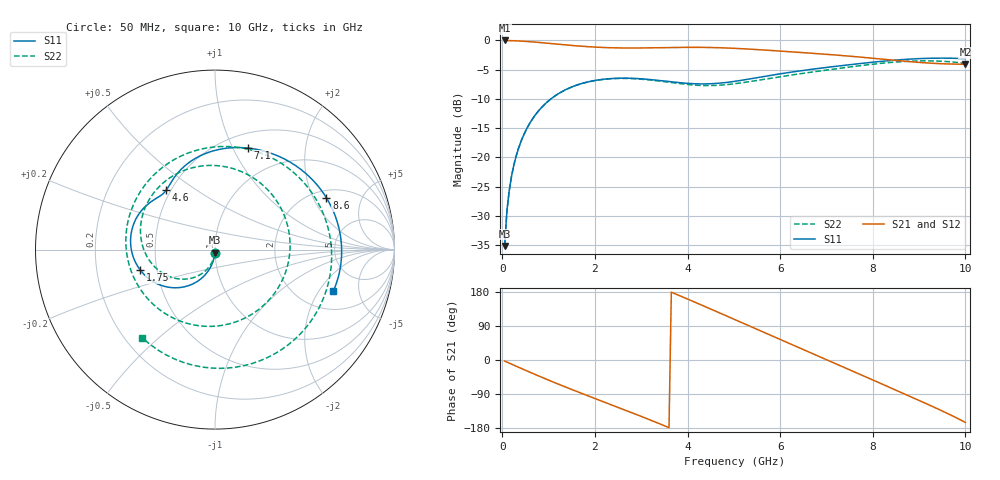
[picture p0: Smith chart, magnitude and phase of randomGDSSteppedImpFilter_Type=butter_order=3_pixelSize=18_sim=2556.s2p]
! freq	dB(S11)	phase(S11)	dB(S12)	phase(S12)
!  dB(S21)	phase(S21)	dB(S22)	phase(S22)
!S-par simulation data
#  GHz  S  DB  R 50
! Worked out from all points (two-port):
!   200 points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, 50 MHz to 10 GHz, reference 50 ohm
!   highest |S21| = 0.00 dB at 50 MHz (marker M1); lowest = -4.1 dB at 10 GHz (marker M2)
!   |S21| within 3 dB of the highest: start of sweep to 7.947 GHz
!   lowest |S11| = -35.1 dB at 50 MHz (marker M3), VSWR 1.04, Z = 49.9 - j1.74 ohm
!   |S11| at or under -10 dB: start of sweep to 1.048 GHz
!   |S22| runs from -35.2 to -3.5 dB; largest |S21 - S12| = 0
!   S11 on the Smith chart (normalised r, x): 50 MHz: 1.00, -0.03; 1.75 GHz: 0.40, -0.11; 4.6 GHz: 0.47, +0.39; 7.1 GHz: 0.65, +1.14; 8.6 GHz: 2.34, +2.54; 10 GHz: 3.03, -2.73
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0.05  -35.14 -92.3  -0.00 -2.8  -0.00 -2.8  -35.17 -93.1
0.1  -29.14 -94.9  -0.01 -5.5  -0.01 -5.5  -29.16 -96.4
0.2  -23.18 -99.8  -0.04 -11.0  -0.04 -11.0  -23.20 -102.8
0.5  -15.52 -113.8  -0.16 -27.1  -0.16 -27.1  -15.53 -121.5
1.1  -9.69 -140.0  -0.57 -58.2  -0.57 -58.2  -9.71 -157.7
1.75  -7.28 -165.0  -1.01 -89.8  -1.01 -89.8  -7.30 164.2
2.7  -6.45 164.5  -1.30 -134.4  -1.30 -134.4  -6.50 105.8
3.4  -6.85 147.2  -1.24 -168.4  -1.24 -168.4  -6.96 55.6
4  -7.34 136.8  -1.18 160.9  -1.18 160.9  -7.54 5.1
4.6  -7.36 129.2  -1.23 129.2  -1.23 129.2  -7.69 -50.6
5.05  -6.96 122.8  -1.36 105.1  -1.36 105.1  -7.37 -92.4
5.45  -6.44 115.3  -1.54 83.8  -1.54 83.8  -6.90 -127.9
5.95  -5.77 103.9  -1.79 57.2  -1.79 57.2  -6.27 -170.0
6.7  -4.91 83.8  -2.20 17.3  -2.20 17.3  -5.40 129.8
7.1  -4.52 72.2  -2.43 -4.2  -2.43 -4.2  -4.96 98.4
7.65  -4.01 55.5  -2.79 -33.8  -2.79 -33.8  -4.39 55.9
8.35  -3.45 33.1  -3.31 -71.5  -3.31 -71.5  -3.78 3.2
8.6  -3.29 24.9  -3.49 -85.0  -3.49 -85.0  -3.63 -15.2
9  -3.11 11.7  -3.75 -106.7  -3.75 -106.7  -3.50 -44.9
9.4  -3.03 -1.2  -3.95 -128.8  -3.95 -128.8  -3.52 -75.8
9.7  -3.04 -10.6  -4.04 -146.2  -4.04 -146.2  -3.67 -101.0
10  -3.11 -19.2  -4.08 -164.7  -4.08 -164.7  -3.92 -129.6
